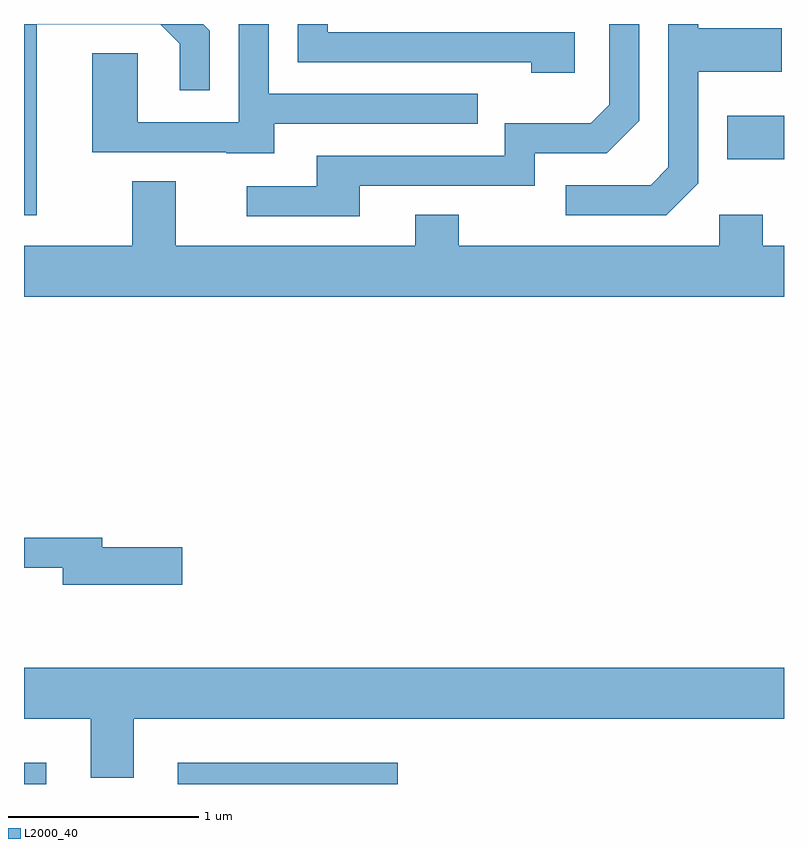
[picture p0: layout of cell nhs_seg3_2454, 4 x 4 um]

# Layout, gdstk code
import gdstk
lib = gdstk.Library(unit=1e-6, precision=1e-09)
def R(c, l, rs):  # rectangles x0, y0, x1, y1
    for r in rs: c.add(gdstk.rectangle(r[:2], r[2:], *l))
def P(c, l, *ps):  # polygons
    for p in ps: c.add(gdstk.Polygon(p, *l))
L2000_40 = (2000, 40)

nhs_seg3_2454 = lib.new_cell('nhs_seg3_2454')
R(nhs_seg3_2454, L2000_40, [(257.611,1127.892,257.729,1128.004), (258.421,1127.892,259.578,1128.004), (261.311,1131.181,261.611,1131.409)])
P(nhs_seg3_2454, L2000_40, [(257.679,1131.891),(258.329,1131.891),(258.431,1131.789),(258.431,1131.543),(258.589,1131.543),(258.589,1131.857),(258.554,1131.892),(257.611,1131.892),(257.611,1130.886),(257.679,1130.886)],
  [(258.929,1131.366),(259.998,1131.366),(259.998,1131.524),(258.899,1131.524),(258.899,1131.892),(258.741,1131.892),(258.741,1131.374),(258.209,1131.374),(258.209,1131.739),(257.971,1131.739),(257.971,1131.216),(258.675,1131.216),(258.675,1131.211),(258.929,1131.211)],
  [(260.509,1131.849),(259.209,1131.849),(259.209,1131.892),(259.051,1131.892),(259.051,1131.691),(260.281,1131.691),(260.281,1131.636),(260.509,1131.636)],
  [(261.159,1131.054),(261.159,1131.641),(261.599,1131.641),(261.599,1131.869),(261.159,1131.869),(261.159,1131.892),(261.001,1131.892),(261.001,1131.137),(260.909,1131.044),(260.462,1131.044),(260.462,1130.886),(260.992,1130.886)],
  [(259.379,1131.041),(260.299,1131.041),(260.299,1131.211),(260.677,1131.211),(260.849,1131.384),(260.849,1131.892),(260.691,1131.892),(260.691,1131.467),(260.594,1131.369),(260.141,1131.369),(260.141,1131.199),(259.151,1131.199),(259.151,1131.039),(258.783,1131.039),(258.783,1130.881),(259.379,1130.881)],
  [(261.611,1130.724),(261.499,1130.724),(261.499,1130.889),(261.271,1130.889),(261.271,1130.724),(259.899,1130.724),(259.899,1130.889),(259.671,1130.889),(259.671,1130.724),(258.409,1130.724),(258.409,1131.064),(258.181,1131.064),(258.181,1130.724),(257.611,1130.724),(257.611,1130.456),(261.611,1130.456)],
  [(258.444,1129.139),(258.024,1129.139),(258.024,1129.189),(257.611,1129.189),(257.611,1129.031),(257.816,1129.031),(257.816,1128.941),(258.444,1128.941)],
  [(258.189,1128.236),(261.611,1128.236),(261.611,1128.504),(257.611,1128.504),(257.611,1128.236),(257.961,1128.236),(257.961,1127.926),(258.189,1127.926)])

lib.write_gds('nhs_seg3_2454.gds')
